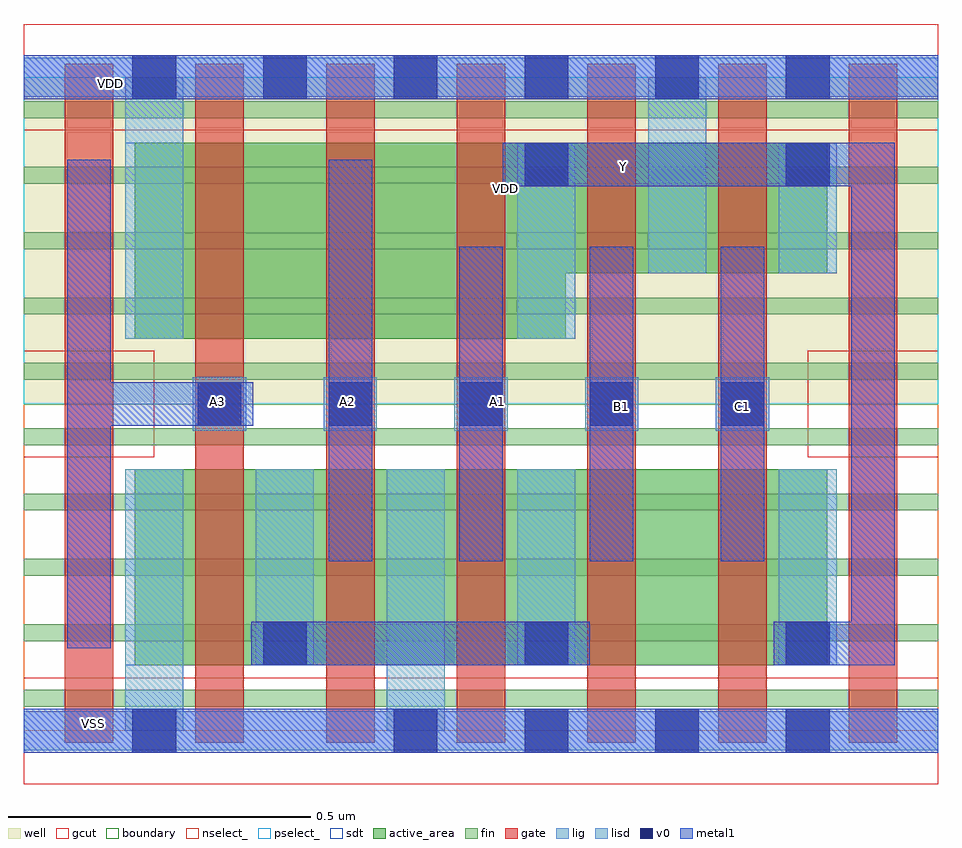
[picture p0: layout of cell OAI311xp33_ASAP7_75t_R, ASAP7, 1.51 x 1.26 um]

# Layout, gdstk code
import gdstk
lib = gdstk.Library(unit=1e-6, precision=2.5e-10)
def R(c, l, rs):  # rectangles x0, y0, x1, y1
    for r in rs: c.add(gdstk.rectangle(r[:2], r[2:], *l))
def A(c, l, x, y, w, h, nx, ny, dx, dy):  # array of equal rectangles
    R(c, l, [(x+i*dx, y+j*dy, x+i*dx+w, y+j*dy+h) for i in range(nx) for j in range(ny)])
def P(c, l, *ps):  # polygons
    for p in ps: c.add(gdstk.Polygon(p, *l))
well = (1, 0)
fin = (2, 0)
gate = (7, 0)
gcut = (10, 0)
active_area = (11, 0)
nselect_ = (12, 0)
pselect_ = (13, 0)
lig = (16, 0)
lisd = (17, 0)
v0 = (18, 0)
metal1 = (19, 0)
sdt = (88, 0)
boundary = (100, 0)

oai311xp33_asap7_75t_r = lib.new_cell('OAI311xp33_ASAP7_75t_R')
R(oai311xp33_asap7_75t_r, well, [(0,0.54,1.512,1.08)])
A(oai311xp33_asap7_75t_r, fin, 0, 0.04, 1.512, 0.028, 1, 10, 0, 0.108)
A(oai311xp33_asap7_75t_r, gate, 0.068, -0.02, 0.08, 1.122, 7, 1, 0.216, 0)
R(oai311xp33_asap7_75t_r, gcut, [(0,-0.088,1.512,0.088), (0,0.452,0.216,0.628), (1.296,0.452,1.512,0.628), (0,0.992,1.512,1.168)])
R(oai311xp33_asap7_75t_r, active_area, [(0.184,0.108,1.328,0.432)])
P(oai311xp33_asap7_75t_r, active_area, [(0.184,0.648),(0.184,0.972),(1.328,0.972),(1.328,0.756),(0.896,0.756),(0.896,0.648)])
R(oai311xp33_asap7_75t_r, nselect_, [(0,0,1.512,0.54)])
R(oai311xp33_asap7_75t_r, pselect_, [(0,0.54,1.512,1.08)])
A(oai311xp33_asap7_75t_r, lig, 0.28, 0.496, 0.088, 0.088, 5, 1, 0.216, 0)
R(oai311xp33_asap7_75t_r, lig, [(0,-0.032,1.512,0.032), (0,1.048,1.512,1.112)])
A(oai311xp33_asap7_75t_r, lisd, 0.384, 0.108, 0.096, 0.324, 3, 1, 0.432, 0)
R(oai311xp33_asap7_75t_r, lisd, [(0.168,0,0.264,0.432), (0.6,0,0.696,0.432), (0.168,0.648,0.264,1.08), (0.816,0.648,0.912,0.972), (1.032,0.756,1.128,1.08), (1.248,0.756,1.344,0.972)])
A(oai311xp33_asap7_75t_r, v0, 0.612, -0.036, 0.072, 0.072, 4, 1, 0.216, 0)
A(oai311xp33_asap7_75t_r, v0, 0.396, 0.108, 0.072, 0.072, 3, 1, 0.432, 0)
A(oai311xp33_asap7_75t_r, v0, 0.288, 0.504, 0.072, 0.072, 5, 1, 0.216, 0)
A(oai311xp33_asap7_75t_r, v0, 0.18, 1.044, 0.072, 0.072, 6, 1, 0.216, 0)
R(oai311xp33_asap7_75t_r, v0, [(0.18,-0.036,0.252,0.036), (0.828,0.9,0.9,0.972), (1.26,0.9,1.332,0.972)])
A(oai311xp33_asap7_75t_r, metal1, 0.72, 0.28, 0.072, 0.52, 3, 1, 0.216, 0)
R(oai311xp33_asap7_75t_r, metal1, [(0,-0.036,1.512,0.036), (0.376,0.108,0.936,0.18), (0.504,0.28,0.576,0.944), (0,1.044,1.512,1.116)])
P(oai311xp33_asap7_75t_r, metal1, [(0.072,0.136),(0.072,0.944),(0.144,0.944),(0.144,0.576),(0.38,0.576),(0.38,0.504),(0.144,0.504),(0.144,0.136)],
  [(1.24,0.108),(1.24,0.18),(1.368,0.18),(1.368,0.9),(0.792,0.9),(0.792,0.972),(1.44,0.972),(1.44,0.108)])
A(oai311xp33_asap7_75t_r, sdt, 0.168, 0.108, 0.096, 0.324, 4, 1, 0.216, 0)
R(oai311xp33_asap7_75t_r, sdt, [(1.248,0.108,1.344,0.432), (0.168,0.648,0.264,0.972), (0.816,0.648,0.912,0.972), (1.032,0.756,1.128,0.972), (1.248,0.756,1.344,0.972)])
R(oai311xp33_asap7_75t_r, boundary, [(0,0,1.512,1.08)])
oai311xp33_asap7_75t_r.add(gdstk.Label('B1', (0.988,0.536), layer=19, texttype=251))
oai311xp33_asap7_75t_r.add(gdstk.Label('A3', (0.32,0.544), layer=19, texttype=251))
oai311xp33_asap7_75t_r.add(gdstk.Label('VDD', (0.144,1.07), layer=19, texttype=251))
oai311xp33_asap7_75t_r.add(gdstk.Label('VSS', (0.116,0.012), layer=19, texttype=251))
oai311xp33_asap7_75t_r.add(gdstk.Label('C1', (1.188,0.536), layer=19, texttype=251))
oai311xp33_asap7_75t_r.add(gdstk.Label('A2', (0.536,0.544), layer=19, texttype=251))
oai311xp33_asap7_75t_r.add(gdstk.Label('A1', (0.784,0.544), layer=19, texttype=251))
oai311xp33_asap7_75t_r.add(gdstk.Label('Y', (0.992,0.932), layer=19, texttype=251))
oai311xp33_asap7_75t_r.add(gdstk.Label('VDD', (0.796,0.896), layer=1, texttype=251))
oai311xp33_asap7_75t_r.add(gdstk.Label('VSS', (0.444,-0.156), layer=3, texttype=251))

lib.write_gds('OAI311xp33_ASAP7_75t_R.gds')
